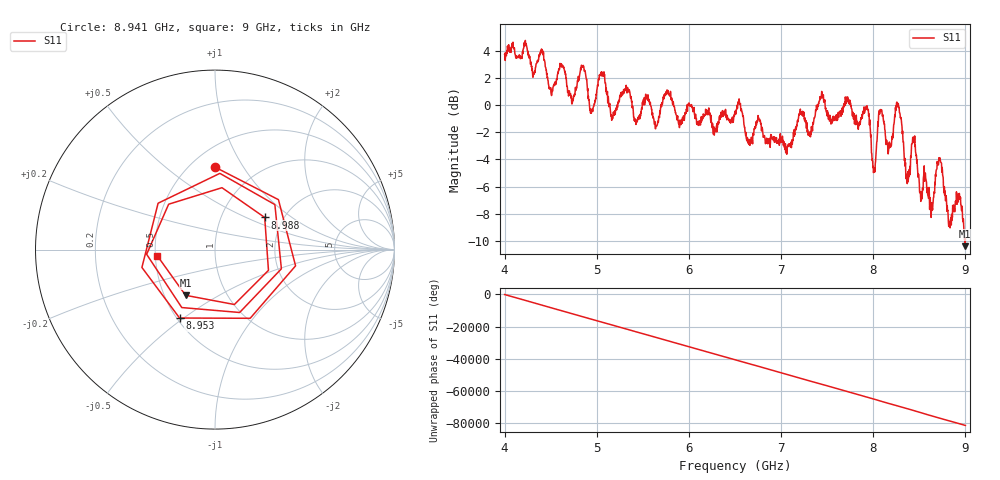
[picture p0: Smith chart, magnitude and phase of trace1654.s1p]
! Created with skrf 1.8.0 (http://scikit-rf.org).
# Hz S RI R 50.0
!freq ReS11 ImS11
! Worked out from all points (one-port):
!   1601 points, 4 GHz to 9 GHz, reference 50 ohm
!   lowest |S11| = -10.4 dB at 8.997 GHz (marker M1), VSWR 1.87, Z = 32 - j17.9 ohm
!   |S11| at or under -10 dB: 8.995115 GHz to 8.999062 GHz (3.947 MHz wide, 0.0439 % of centre)
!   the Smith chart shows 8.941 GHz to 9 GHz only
!   S11 on the Smith chart (normalised r, x): 8.941 GHz: 0.65, +0.76; 8.953 GHz: 0.52, -0.48; 8.988 GHz: 1.61, +0.64; 9 GHz: 0.51, -0.04
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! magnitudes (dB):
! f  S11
! 4 GHz  3.7
! 4.503 GHz  0.9
! 4.625 GHz  2.9
! 4.731 GHz  0.1
! 4.856 GHz  2.8
! 4.944 GHz  -0.4
! 5.053 GHz  2.4
! 5.169 GHz  -0.8
! 5.25 GHz  0.7
! 5.875 GHz  -0.9
! 6.5 GHz  -0.5
! 7.125 GHz  -2.6
! 7.75 GHz  0.0
! 7.938 GHz  -0.3
! 8.006 GHz  -4.8
! 8.075 GHz  -0.4
! 8.175 GHz  -2.7
! 8.266 GHz  -0.1
! 8.375 GHz  -4.9
! 8.441 GHz  -2.7
! 8.622 GHz  -7.5
! 8.716 GHz  -3.9
! 8.828 GHz  -8.9
! 8.941 GHz  -6.8
! 8.953 GHz  -7.3
! 8.988 GHz  -9.6
! 8.997 GHz  -10.4
! 9 GHz  -9.8
